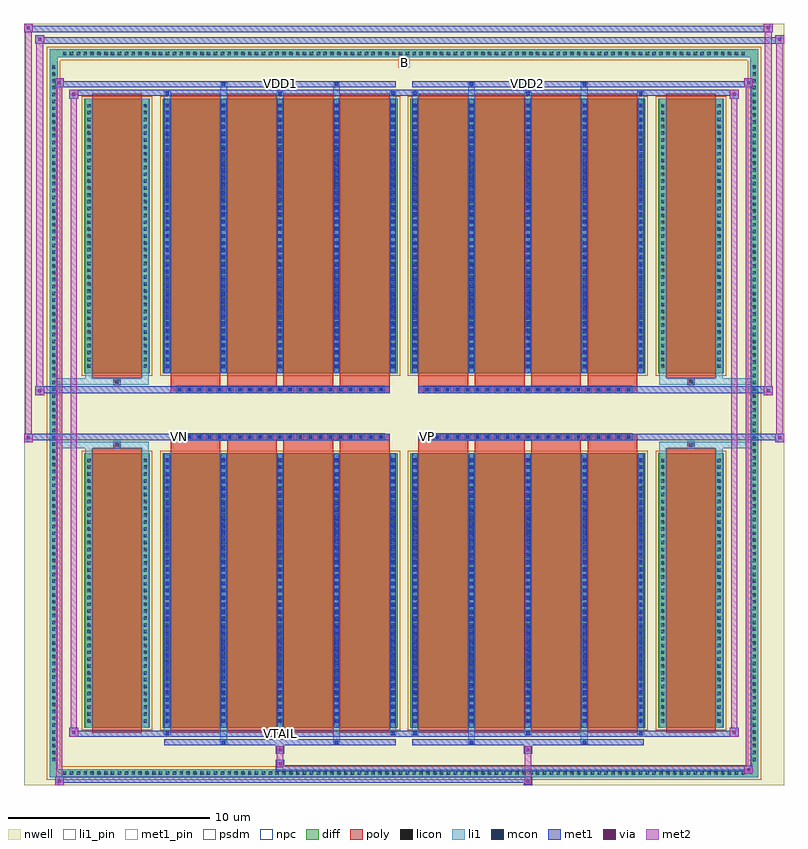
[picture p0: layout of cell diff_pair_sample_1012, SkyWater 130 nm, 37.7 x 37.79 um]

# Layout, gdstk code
import gdstk
lib = gdstk.Library(unit=1e-6, precision=5e-09)
def R(c, l, rs):  # rectangles x0, y0, x1, y1
    for r in rs: c.add(gdstk.rectangle(r[:2], r[2:], *l))
def A(c, l, x, y, w, h, nx, ny, dx, dy):  # array of equal rectangles
    R(c, l, [(x+i*dx, y+j*dy, x+i*dx+w, y+j*dy+h) for i in range(nx) for j in range(ny)])
def P(c, l, *ps):  # polygons
    for p in ps: c.add(gdstk.Polygon(p, *l))
nwell = (64, 20)
diff = (65, 20)
poly = (66, 20)
licon = (66, 44)
li1_pin = (67, 16)
li1 = (67, 20)
mcon = (67, 44)
met1_pin = (68, 16)
met1 = (68, 20)
via = (68, 44)
met2 = (69, 20)
psdm = (94, 20)
npc = (95, 20)

diff_pair_sample_1012 = lib.new_cell('diff_pair_sample_1012')
R(diff_pair_sample_1012, nwell, [(-18.85,-18.46,18.85,19.33), (-16.17,-16.65,-0.01,-0.805), (0.01,-16.65,16.17,-0.805), (-16.17,0.805,-0.01,16.65), (0.01,0.805,16.17,16.65)])
A(diff_pair_sample_1012, diff, -17.035, -18.06, 0.41, 0.41, 100, 2, 0.34, 35.71)
A(diff_pair_sample_1012, diff, -17.58, -17.375, 0.41, 0.41, 1, 102, 0, 0.34)
A(diff_pair_sample_1012, diff, 17.17, -17.375, 0.41, 0.41, 1, 102, 0, 0.34)
R(diff_pair_sample_1012, diff, [(-17.035,-18.06,17.035,-17.65), (-17.58,-17.375,-17.17,17.375), (17.17,-17.375,17.58,17.375), (-15.86,-15.605,-12.61,-1.985), (-11.97,-15.605,-0.32,-1.985), (0.32,-15.605,11.97,-1.985), (12.61,-15.605,15.86,-1.985), (-15.86,1.985,-12.61,15.605), (-11.97,1.985,-0.32,15.605), (0.32,1.985,11.97,15.605), (12.61,1.985,15.86,15.605), (-17.035,17.65,17.035,18.06)])
P(diff_pair_sample_1012, diff, [(17.58,18.06),(-17.58,18.06),(-17.58,-17.65),(-17.17,-17.65),(-17.17,17.65),(17.17,17.65),(17.17,-17.65),(-17.17,-17.65),(-17.58,-17.65),(-17.58,-18.06),(17.58,-18.06)])
A(diff_pair_sample_1012, poly, -11.58, -15.855, 2.47, 14.12, 4, 2, 2.8, 17.59)
A(diff_pair_sample_1012, poly, 0.71, -15.855, 2.47, 14.12, 4, 2, 2.8, 17.59)
A(diff_pair_sample_1012, poly, -11.58, -1.735, 2.47, 0.4, 4, 2, 2.8, 3.07)
A(diff_pair_sample_1012, poly, 0.71, -1.735, 2.47, 0.4, 4, 2, 2.8, 3.07)
A(diff_pair_sample_1012, poly, -11.31, -1.335, 0.33, 0.33, 21, 2, 0.5, 2.34)
A(diff_pair_sample_1012, poly, 0.98, -1.335, 0.33, 0.33, 21, 2, 0.5, 2.34)
R(diff_pair_sample_1012, poly, [(-15.47,-15.855,-13,-1.735), (13,-15.855,15.47,-1.735), (-14.4,-1.735,-14.07,-1.405), (-14.4,-1.735,-14.07,-1.405), (14.07,-1.735,14.4,-1.405), (14.07,-1.735,14.4,-1.405), (-11.58,-1.335,-0.71,-1.005), (0.71,-1.335,11.58,-1.005), (-11.58,1.005,-0.71,1.335), (0.71,1.005,11.58,1.335), (-14.4,1.405,-14.07,1.735), (-14.4,1.405,-14.07,1.735), (14.07,1.405,14.4,1.735), (14.07,1.405,14.4,1.735), (-15.47,1.735,-13,15.855), (13,1.735,15.47,15.855)])
A(diff_pair_sample_1012, licon, -16.915, -17.94, 0.17, 0.17, 100, 2, 0.34, 35.71)
A(diff_pair_sample_1012, licon, -17.46, -17.255, 0.17, 0.17, 1, 102, 0, 0.34)
A(diff_pair_sample_1012, licon, 17.29, -17.255, 0.17, 0.17, 1, 102, 0, 0.34)
A(diff_pair_sample_1012, licon, -15.72, -15.34, 0.17, 0.17, 1, 39, 0, 0.34)
A(diff_pair_sample_1012, licon, -12.92, -15.34, 0.17, 0.17, 1, 39, 0, 0.34)
A(diff_pair_sample_1012, licon, -11.83, -15.34, 0.17, 0.17, 5, 39, 2.8, 0.34)
A(diff_pair_sample_1012, licon, 0.46, -15.34, 0.17, 0.17, 5, 39, 2.8, 0.34)
A(diff_pair_sample_1012, licon, 12.75, -15.34, 0.17, 0.17, 1, 39, 0, 0.34)
A(diff_pair_sample_1012, licon, 15.55, -15.34, 0.17, 0.17, 1, 39, 0, 0.34)
A(diff_pair_sample_1012, licon, -11.23, -1.255, 0.17, 0.17, 21, 2, 0.5, 2.34)
A(diff_pair_sample_1012, licon, 1.06, -1.255, 0.17, 0.17, 21, 2, 0.5, 2.34)
A(diff_pair_sample_1012, licon, -15.72, 2.25, 0.17, 0.17, 1, 39, 0, 0.34)
A(diff_pair_sample_1012, licon, -12.92, 2.25, 0.17, 0.17, 1, 39, 0, 0.34)
A(diff_pair_sample_1012, licon, -11.83, 2.25, 0.17, 0.17, 5, 39, 2.8, 0.34)
A(diff_pair_sample_1012, licon, 0.46, 2.25, 0.17, 0.17, 5, 39, 2.8, 0.34)
A(diff_pair_sample_1012, licon, 12.75, 2.25, 0.17, 0.17, 1, 39, 0, 0.34)
A(diff_pair_sample_1012, licon, 15.55, 2.25, 0.17, 0.17, 1, 39, 0, 0.34)
R(diff_pair_sample_1012, licon, [(-14.32,-1.655,-14.15,-1.485), (14.15,-1.655,14.32,-1.485), (-14.32,1.485,-14.15,1.655), (14.15,1.485,14.32,1.655)])
R(diff_pair_sample_1012, li1_pin, [(-0.25,17.15,0.25,17.65)])
A(diff_pair_sample_1012, li1, -16.995, -18.02, 0.33, 0.33, 100, 2, 0.34, 35.71)
A(diff_pair_sample_1012, li1, -17.54, -17.335, 0.33, 0.33, 1, 102, 0, 0.34)
A(diff_pair_sample_1012, li1, 17.21, -17.335, 0.33, 0.33, 1, 102, 0, 0.34)
A(diff_pair_sample_1012, li1, -11.91, -15.98, 0.33, 0.375, 3, 2, 5.6, 31.585)
A(diff_pair_sample_1012, li1, -11.83, -15.98, 0.17, 0.17, 3, 2, 5.6, 31.79)
A(diff_pair_sample_1012, li1, 0.38, -15.98, 0.33, 0.375, 3, 2, 5.6, 31.585)
A(diff_pair_sample_1012, li1, 0.46, -15.98, 0.17, 0.17, 3, 2, 5.6, 31.79)
A(diff_pair_sample_1012, li1, -11.91, -15.605, 0.33, 13.62, 5, 2, 2.8, 17.59)
A(diff_pair_sample_1012, li1, 0.38, -15.605, 0.33, 13.62, 5, 2, 2.8, 17.59)
A(diff_pair_sample_1012, li1, -15.8, -15.42, 0.33, 0.33, 1, 39, 0, 0.34)
A(diff_pair_sample_1012, li1, -13, -15.42, 0.33, 0.33, 1, 39, 0, 0.34)
A(diff_pair_sample_1012, li1, -11.91, -15.42, 0.33, 0.33, 5, 39, 2.8, 0.34)
A(diff_pair_sample_1012, li1, 0.38, -15.42, 0.33, 0.33, 5, 39, 2.8, 0.34)
A(diff_pair_sample_1012, li1, 12.67, -15.42, 0.33, 0.33, 1, 39, 0, 0.34)
A(diff_pair_sample_1012, li1, 15.47, -15.42, 0.33, 0.33, 1, 39, 0, 0.34)
A(diff_pair_sample_1012, li1, -11.83, -15.36, 0.17, 0.17, 5, 37, 2.8, 0.36)
A(diff_pair_sample_1012, li1, -11.83, -15.36, 0.17, 13.13, 5, 2, 2.8, 17.59)
A(diff_pair_sample_1012, li1, 0.46, -15.36, 0.17, 0.17, 5, 37, 2.8, 0.36)
A(diff_pair_sample_1012, li1, 0.46, -15.36, 0.17, 13.13, 5, 2, 2.8, 17.59)
A(diff_pair_sample_1012, li1, -11.31, -1.335, 0.33, 0.33, 21, 2, 0.5, 2.34)
A(diff_pair_sample_1012, li1, 0.98, -1.335, 0.33, 0.33, 21, 2, 0.5, 2.34)
A(diff_pair_sample_1012, li1, -15.8, 2.17, 0.33, 0.33, 1, 39, 0, 0.34)
A(diff_pair_sample_1012, li1, -13, 2.17, 0.33, 0.33, 1, 39, 0, 0.34)
A(diff_pair_sample_1012, li1, -11.91, 2.17, 0.33, 0.33, 5, 39, 2.8, 0.34)
A(diff_pair_sample_1012, li1, 0.38, 2.17, 0.33, 0.33, 5, 39, 2.8, 0.34)
A(diff_pair_sample_1012, li1, 12.67, 2.17, 0.33, 0.33, 1, 39, 0, 0.34)
A(diff_pair_sample_1012, li1, 15.47, 2.17, 0.33, 0.33, 1, 39, 0, 0.34)
A(diff_pair_sample_1012, li1, -11.83, 2.23, 0.17, 0.17, 5, 37, 2.8, 0.36)
A(diff_pair_sample_1012, li1, 0.46, 2.23, 0.17, 0.17, 5, 37, 2.8, 0.36)
R(diff_pair_sample_1012, li1, [(-17.58,-18.06,-17.17,-17.65), (-17.58,-18.06,-17.17,-17.65), (-17.17,-18.06,17.17,-17.65), (17.17,-18.06,17.58,-17.65), (17.17,-18.06,17.58,-17.65), (-17.58,-17.65,-17.17,17.65), (17.17,-17.65,17.58,17.65), (-9.11,-16.41,-8.78,-15.605), (-9.03,-16.41,-8.86,-16.24), (-3.51,-16.41,-3.18,-15.605), (-3.43,-16.41,-3.26,-16.24), (3.18,-16.41,3.51,-15.605), (3.26,-16.41,3.43,-16.24), (8.78,-16.41,9.11,-15.605), (8.86,-16.41,9.03,-16.24), (-15.8,-15.605,-15.47,-1.985), (-13,-15.605,-12.67,-1.985), (12.67,-15.605,13,-1.985), (15.47,-15.605,15.8,-1.985), (-15.8,-1.985,-15.47,-1.405), (-13,-1.985,-12.67,-1.405), (12.67,-1.985,13,-1.405), (15.47,-1.985,15.8,-1.405), (-17.58,-1.735,-14.4,-1.405), (-15.8,-1.735,-14.4,-1.405), (-14.4,-1.735,-14.07,-1.405), (-14.07,-1.735,-12.67,-1.405), (12.67,-1.735,14.07,-1.405), (14.07,-1.735,14.4,-1.405), (14.07,-1.735,17.58,-1.405), (14.4,-1.735,15.8,-1.405), (-17.58,1.405,-14.4,1.735), (-15.8,1.405,-14.4,1.735), (-15.8,1.405,-15.47,1.985), (-14.4,1.405,-14.07,1.735), (-14.07,1.405,-12.67,1.735), (-13,1.405,-12.67,1.985), (12.67,1.405,14.07,1.735), (12.67,1.405,13,1.985), (14.07,1.405,14.4,1.735), (14.07,1.405,17.58,1.735), (14.4,1.405,15.8,1.735), (15.47,1.405,15.8,1.985), (-15.8,1.985,-15.47,15.605), (-13,1.985,-12.67,15.605), (12.67,1.985,13,15.605), (15.47,1.985,15.8,15.605), (-9.11,15.605,-8.78,16.41), (-3.51,15.605,-3.18,16.41), (3.18,15.605,3.51,16.41), (8.78,15.605,9.11,16.41), (-9.03,16.24,-8.86,16.41), (-3.43,16.24,-3.26,16.41), (3.26,16.24,3.43,16.41), (8.86,16.24,9.03,16.41), (-17.58,17.65,-17.17,18.06), (-17.58,17.65,-17.17,18.06), (-17.17,17.65,17.17,18.06), (17.17,17.65,17.58,18.06), (17.17,17.65,17.58,18.06)])
A(diff_pair_sample_1012, mcon, -11.83, -15.98, 0.17, 0.17, 3, 2, 5.6, 31.79)
A(diff_pair_sample_1012, mcon, 0.46, -15.98, 0.17, 0.17, 3, 2, 5.6, 31.79)
A(diff_pair_sample_1012, mcon, -11.83, -15.36, 0.17, 0.17, 5, 37, 2.8, 0.36)
A(diff_pair_sample_1012, mcon, 0.46, -15.36, 0.17, 0.17, 5, 37, 2.8, 0.36)
A(diff_pair_sample_1012, mcon, -11.23, -1.255, 0.17, 0.17, 21, 2, 0.5, 2.34)
A(diff_pair_sample_1012, mcon, 1.06, -1.255, 0.17, 0.17, 21, 2, 0.5, 2.34)
A(diff_pair_sample_1012, mcon, -11.83, 2.23, 0.17, 0.17, 5, 37, 2.8, 0.36)
A(diff_pair_sample_1012, mcon, 0.46, 2.23, 0.17, 0.17, 5, 37, 2.8, 0.36)
R(diff_pair_sample_1012, mcon, [(-9.03,-16.41,-8.86,-16.24), (-3.43,-16.41,-3.26,-16.24), (3.26,-16.41,3.43,-16.24), (8.86,-16.41,9.03,-16.24), (-9.03,16.24,-8.86,16.41), (-3.43,16.24,-3.26,16.41), (3.26,16.24,3.43,16.41), (8.86,16.24,9.03,16.41)])
R(diff_pair_sample_1012, met1_pin, [(-6.28,-16.02,-6.01,-15.75), (-11.28,-1.295,-11.01,-1.025), (1.01,-1.295,1.28,-1.025), (-6.28,16.2,-6.01,16.47), (6.01,16.2,6.28,16.47)])
A(diff_pair_sample_1012, met1, -11.89, -16.04, 0.29, 0.29, 3, 2, 5.6, 31.79)
A(diff_pair_sample_1012, met1, 0.4, -16.04, 0.29, 0.29, 3, 2, 5.6, 31.79)
A(diff_pair_sample_1012, met1, -11.89, -15.605, 0.29, 13.62, 5, 2, 2.8, 17.59)
A(diff_pair_sample_1012, met1, 0.4, -15.605, 0.29, 13.62, 5, 2, 2.8, 17.59)
A(diff_pair_sample_1012, met1, -11.89, -15.42, 0.29, 0.29, 5, 37, 2.8, 0.36)
A(diff_pair_sample_1012, met1, 0.4, -15.42, 0.29, 0.29, 5, 37, 2.8, 0.36)
A(diff_pair_sample_1012, met1, -11.29, -1.315, 0.29, 0.29, 21, 2, 0.5, 2.34)
A(diff_pair_sample_1012, met1, 1, -1.315, 0.29, 0.29, 21, 2, 0.5, 2.34)
A(diff_pair_sample_1012, met1, -11.89, 2.17, 0.29, 0.29, 5, 37, 2.8, 0.36)
A(diff_pair_sample_1012, met1, 0.4, 2.17, 0.29, 0.29, 5, 37, 2.8, 0.36)
R(diff_pair_sample_1012, met1, [(-17.31,-18.46,-16.88,-18.03), (5.93,-18.46,6.36,-18.03), (-17.31,-18.32,6.36,-18.03), (16.88,-17.89,17.31,-17.46), (-6.36,-17.75,17.31,-17.46), (-6.36,-17.61,-5.93,-17.18), (-6.36,-16.9,-5.93,-16.47), (5.93,-16.9,6.36,-16.47), (-11.89,-16.47,-0.4,-16.18), (-9.09,-16.47,-8.8,-16.18), (-3.49,-16.47,-3.2,-16.18), (0.4,-16.47,11.89,-16.18), (3.2,-16.47,3.49,-16.18), (8.8,-16.47,9.09,-16.18), (-16.6,-16.04,-16.17,-15.61), (-16.6,-16.04,-11.89,-15.75), (-11.89,-16.04,-0.4,-15.75), (-0.4,-16.04,0.4,-15.75), (0.4,-16.04,11.89,-15.75), (11.89,-16.04,16.6,-15.75), (16.17,-16.04,16.6,-15.61), (-18.85,-1.435,-18.42,-1.005), (18.42,-1.435,18.85,-1.005), (-18.85,-1.335,-0.71,-1.005), (-11.58,-1.335,-0.71,-1.005), (0.71,-1.335,11.58,-1.005), (0.71,-1.335,18.85,-1.005), (-18.28,0.905,-17.85,1.335), (17.85,0.905,18.28,1.335), (-18.28,1.005,-11.58,1.335), (-11.58,1.005,-0.71,1.335), (0.71,1.005,11.58,1.335), (11.58,1.005,18.28,1.335), (-16.6,15.61,-16.17,16.04), (16.17,15.61,16.6,16.04), (-16.6,15.75,-11.89,16.04), (-11.89,15.75,-0.4,16.04), (-0.4,15.75,0.4,16.04), (0.4,15.75,11.89,16.04), (11.89,15.75,16.6,16.04), (-17.31,16.18,-16.88,16.61), (-17.31,16.18,-11.89,16.47), (-11.89,16.18,-0.4,16.47), (-9.09,16.18,-8.8,16.47), (-3.49,16.18,-3.2,16.47), (0.4,16.18,11.89,16.47), (3.2,16.18,3.49,16.47), (8.8,16.18,9.09,16.47), (11.89,16.18,17.31,16.47), (16.88,16.18,17.31,16.61), (-18.28,18.33,-17.85,18.76), (-18.28,18.33,-16.17,18.66), (-16.17,18.33,16.17,18.66), (16.17,18.33,18.85,18.66), (18.42,18.33,18.85,18.76), (-18.85,18.9,-18.42,19.33), (-18.85,18.9,-16.17,19.23), (-16.17,18.9,16.17,19.23), (16.17,18.9,18.28,19.23), (17.85,18.9,18.28,19.33)])
R(diff_pair_sample_1012, via, [(-17.17,-18.32,-17.02,-18.17), (6.07,-18.32,6.22,-18.17), (17.02,-17.75,17.17,-17.6), (-6.22,-17.47,-6.07,-17.32), (-6.22,-16.76,-6.07,-16.61), (6.07,-16.76,6.22,-16.61), (-16.46,-15.9,-16.31,-15.75), (16.31,-15.9,16.46,-15.75), (-18.71,-1.295,-18.56,-1.145), (18.56,-1.295,18.71,-1.145), (-18.14,1.045,-17.99,1.195), (17.99,1.045,18.14,1.195), (-16.46,15.75,-16.31,15.9), (16.31,15.75,16.46,15.9), (-17.17,16.32,-17.02,16.47), (17.02,16.32,17.17,16.47), (-18.14,18.47,-17.99,18.62), (18.56,18.47,18.71,18.62), (-18.71,19.04,-18.56,19.19), (17.99,19.04,18.14,19.19)])
R(diff_pair_sample_1012, met2, [(-17.31,-18.46,-16.88,-18.03), (-17.24,-18.46,-16.95,16.61), (-16.95,-18.46,-16.88,-18.03), (-17.26,-18.41,-16.93,-18.08), (5.98,-18.41,6.31,-18.08), (5.98,-18.08,6.31,-16.85), (16.88,-17.89,17.31,-17.46), (16.95,-17.89,17.24,16.61), (17.24,-17.89,17.31,-17.46), (16.93,-17.84,17.26,-17.51), (-6.31,-17.56,-5.98,-17.23), (-6.31,-17.23,-5.98,-16.85), (-6.31,-16.85,-5.98,-16.52), (5.98,-16.85,6.31,-16.52), (-16.6,-16.04,-16.17,-15.61), (-16.53,-16.04,-16.24,16.04), (-16.24,-16.04,-16.17,-15.61), (16.17,-16.04,16.6,-15.61), (16.24,-16.04,16.53,16.04), (16.53,-16.04,16.6,-15.61), (-16.55,-15.99,-16.22,-15.66), (16.22,-15.99,16.55,-15.66), (-18.85,-1.435,-18.42,-1.005), (-18.8,-1.435,-18.47,19.33), (-18.47,-1.435,-18.42,-1.005), (18.42,-1.435,18.85,-1.005), (18.47,-1.435,18.8,18.76), (18.8,-1.435,18.85,-1.005), (-18.8,-1.385,-18.47,-1.055), (18.47,-1.385,18.8,-1.055), (-18.28,0.905,-17.85,1.335), (-18.23,0.905,-17.9,18.76), (-17.9,0.905,-17.85,1.335), (17.85,0.905,18.28,1.335), (17.9,0.905,18.23,19.33), (18.23,0.905,18.28,1.335), (-18.23,0.955,-17.9,1.285), (17.9,0.955,18.23,1.285), (-16.6,15.61,-16.17,16.04), (-16.24,15.61,-16.17,16.04), (16.17,15.61,16.6,16.04), (16.53,15.61,16.6,16.04), (-16.55,15.66,-16.22,15.99), (16.22,15.66,16.55,15.99), (-17.31,16.18,-16.88,16.61), (-16.95,16.18,-16.88,16.61), (16.88,16.18,17.31,16.61), (17.24,16.18,17.31,16.61), (-17.26,16.23,-16.93,16.56), (16.93,16.23,17.26,16.56), (-18.28,18.33,-17.85,18.76), (-17.9,18.33,-17.85,18.76), (18.42,18.33,18.85,18.76), (18.8,18.33,18.85,18.76), (-18.23,18.38,-17.9,18.71), (18.47,18.38,18.8,18.71), (-18.85,18.9,-18.42,19.33), (-18.47,18.9,-18.42,19.33), (17.85,18.9,18.28,19.33), (18.23,18.9,18.28,19.33), (-18.8,18.95,-18.47,19.28), (17.9,18.95,18.23,19.28)])
R(diff_pair_sample_1012, psdm, [(-15.99,-15.735,-12.48,-1.855), (-12.1,-15.735,-0.19,-1.855), (0.19,-15.735,12.1,-1.855), (12.48,-15.735,15.99,-1.855), (-15.99,1.855,-12.48,15.735), (-12.1,1.855,-0.19,15.735), (0.19,1.855,12.1,15.735), (12.48,1.855,15.99,15.735)])
P(diff_pair_sample_1012, psdm, [(17.71,18.19),(-17.71,18.19),(-17.71,-17.52),(-17.04,-17.52),(-17.04,17.52),(17.04,17.52),(17.04,-17.52),(-17.04,-17.52),(-17.71,-17.52),(-17.71,-18.19),(17.71,-18.19)])
A(diff_pair_sample_1012, npc, -11.33, -1.355, 0.37, 0.37, 21, 2, 0.5, 2.34)
A(diff_pair_sample_1012, npc, 0.96, -1.355, 0.37, 0.37, 21, 2, 0.5, 2.34)
R(diff_pair_sample_1012, npc, [(-14.42,-1.755,-14.05,-1.385), (14.05,-1.755,14.42,-1.385), (-11.33,-1.355,-10.46,-0.985), (-11.33,-1.355,-10.46,-0.985), (-10.83,-1.355,-9.96,-0.985), (-10.83,-1.355,-9.96,-0.985), (-10.33,-1.355,-9.46,-0.985), (-10.33,-1.355,-9.46,-0.985), (-9.83,-1.355,-8.96,-0.985), (-9.83,-1.355,-8.96,-0.985), (-9.33,-1.355,-8.46,-0.985), (-9.33,-1.355,-8.46,-0.985), (-8.83,-1.355,-7.96,-0.985), (-8.83,-1.355,-7.96,-0.985), (-8.33,-1.355,-7.46,-0.985), (-8.33,-1.355,-7.46,-0.985), (-7.83,-1.355,-6.96,-0.985), (-7.83,-1.355,-6.96,-0.985), (-7.33,-1.355,-6.46,-0.985), (-7.33,-1.355,-6.46,-0.985), (-6.83,-1.355,-5.96,-0.985), (-6.83,-1.355,-5.96,-0.985), (-6.33,-1.355,-5.46,-0.985), (-6.33,-1.355,-5.46,-0.985), (-5.83,-1.355,-4.96,-0.985), (-5.83,-1.355,-4.96,-0.985), (-5.33,-1.355,-4.46,-0.985), (-5.33,-1.355,-4.46,-0.985), (-4.83,-1.355,-3.96,-0.985), (-4.83,-1.355,-3.96,-0.985), (-4.33,-1.355,-3.46,-0.985), (-4.33,-1.355,-3.46,-0.985), (-3.83,-1.355,-2.96,-0.985), (-3.83,-1.355,-2.96,-0.985), (-3.33,-1.355,-2.46,-0.985), (-3.33,-1.355,-2.46,-0.985), (-2.83,-1.355,-1.96,-0.985), (-2.83,-1.355,-1.96,-0.985), (-2.33,-1.355,-1.46,-0.985), (-2.33,-1.355,-1.46,-0.985), (-1.83,-1.355,-0.96,-0.985), (-1.83,-1.355,-0.96,-0.985), (0.96,-1.355,1.83,-0.985), (0.96,-1.355,1.83,-0.985), (1.46,-1.355,2.33,-0.985), (1.46,-1.355,2.33,-0.985), (1.96,-1.355,2.83,-0.985), (1.96,-1.355,2.83,-0.985), (2.46,-1.355,3.33,-0.985), (2.46,-1.355,3.33,-0.985), (2.96,-1.355,3.83,-0.985), (2.96,-1.355,3.83,-0.985), (3.46,-1.355,4.33,-0.985), (3.46,-1.355,4.33,-0.985), (3.96,-1.355,4.83,-0.985), (3.96,-1.355,4.83,-0.985), (4.46,-1.355,5.33,-0.985), (4.46,-1.355,5.33,-0.985), (4.96,-1.355,5.83,-0.985), (4.96,-1.355,5.83,-0.985), (5.46,-1.355,6.33,-0.985), (5.46,-1.355,6.33,-0.985), (5.96,-1.355,6.83,-0.985), (5.96,-1.355,6.83,-0.985), (6.46,-1.355,7.33,-0.985), (6.46,-1.355,7.33,-0.985), (6.96,-1.355,7.83,-0.985), (6.96,-1.355,7.83,-0.985), (7.46,-1.355,8.33,-0.985), (7.46,-1.355,8.33,-0.985), (7.96,-1.355,8.83,-0.985), (7.96,-1.355,8.83,-0.985), (8.46,-1.355,9.33,-0.985), (8.46,-1.355,9.33,-0.985), (8.96,-1.355,9.83,-0.985), (8.96,-1.355,9.83,-0.985), (9.46,-1.355,10.33,-0.985), (9.46,-1.355,10.33,-0.985), (9.96,-1.355,10.83,-0.985), (9.96,-1.355,10.83,-0.985), (10.46,-1.355,11.33,-0.985), (10.46,-1.355,11.33,-0.985), (-11.33,0.985,-10.46,1.355), (-11.33,0.985,-10.46,1.355), (-10.83,0.985,-9.96,1.355), (-10.83,0.985,-9.96,1.355), (-10.33,0.985,-9.46,1.355), (-10.33,0.985,-9.46,1.355), (-9.83,0.985,-8.96,1.355), (-9.83,0.985,-8.96,1.355), (-9.33,0.985,-8.46,1.355), (-9.33,0.985,-8.46,1.355), (-8.83,0.985,-7.96,1.355), (-8.83,0.985,-7.96,1.355), (-8.33,0.985,-7.46,1.355), (-8.33,0.985,-7.46,1.355), (-7.83,0.985,-6.96,1.355), (-7.83,0.985,-6.96,1.355), (-7.33,0.985,-6.46,1.355), (-7.33,0.985,-6.46,1.355), (-6.83,0.985,-5.96,1.355), (-6.83,0.985,-5.96,1.355), (-6.33,0.985,-5.46,1.355), (-6.33,0.985,-5.46,1.355), (-5.83,0.985,-4.96,1.355), (-5.83,0.985,-4.96,1.355), (-5.33,0.985,-4.46,1.355), (-5.33,0.985,-4.46,1.355), (-4.83,0.985,-3.96,1.355), (-4.83,0.985,-3.96,1.355), (-4.33,0.985,-3.46,1.355), (-4.33,0.985,-3.46,1.355), (-3.83,0.985,-2.96,1.355), (-3.83,0.985,-2.96,1.355), (-3.33,0.985,-2.46,1.355), (-3.33,0.985,-2.46,1.355), (-2.83,0.985,-1.96,1.355), (-2.83,0.985,-1.96,1.355), (-2.33,0.985,-1.46,1.355), (-2.33,0.985,-1.46,1.355), (-1.83,0.985,-0.96,1.355), (-1.83,0.985,-0.96,1.355), (0.96,0.985,1.83,1.355), (0.96,0.985,1.83,1.355), (1.46,0.985,2.33,1.355), (1.46,0.985,2.33,1.355), (1.96,0.985,2.83,1.355), (1.96,0.985,2.83,1.355), (2.46,0.985,3.33,1.355), (2.46,0.985,3.33,1.355), (2.96,0.985,3.83,1.355), (2.96,0.985,3.83,1.355), (3.46,0.985,4.33,1.355), (3.46,0.985,4.33,1.355), (3.96,0.985,4.83,1.355), (3.96,0.985,4.83,1.355), (4.46,0.985,5.33,1.355), (4.46,0.985,5.33,1.355), (4.96,0.985,5.83,1.355), (4.96,0.985,5.83,1.355), (5.46,0.985,6.33,1.355), (5.46,0.985,6.33,1.355), (5.96,0.985,6.83,1.355), (5.96,0.985,6.83,1.355), (6.46,0.985,7.33,1.355), (6.46,0.985,7.33,1.355), (6.96,0.985,7.83,1.355), (6.96,0.985,7.83,1.355), (7.46,0.985,8.33,1.355), (7.46,0.985,8.33,1.355), (7.96,0.985,8.83,1.355), (7.96,0.985,8.83,1.355), (8.46,0.985,9.33,1.355), (8.46,0.985,9.33,1.355), (8.96,0.985,9.83,1.355), (8.96,0.985,9.83,1.355), (9.46,0.985,10.33,1.355), (9.46,0.985,10.33,1.355), (9.96,0.985,10.83,1.355), (9.96,0.985,10.83,1.355), (10.46,0.985,11.33,1.355), (10.46,0.985,11.33,1.355), (-14.42,1.385,-14.05,1.755), (14.05,1.385,14.42,1.755)])
diff_pair_sample_1012.add(gdstk.Label('VTAIL', (-6.145,-15.885), layer=68, texttype=5))
diff_pair_sample_1012.add(gdstk.Label('VN', (-11.145,-1.16), layer=68, texttype=5))
diff_pair_sample_1012.add(gdstk.Label('VP', (1.145,-1.16), layer=68, texttype=5))
diff_pair_sample_1012.add(gdstk.Label('B', (0,17.4), layer=67, texttype=5))
diff_pair_sample_1012.add(gdstk.Label('VDD2', (6.145,16.335), layer=68, texttype=5))
diff_pair_sample_1012.add(gdstk.Label('VDD1', (-6.145,16.335), layer=68, texttype=5))

lib.write_gds('diff_pair_sample_1012.gds')
